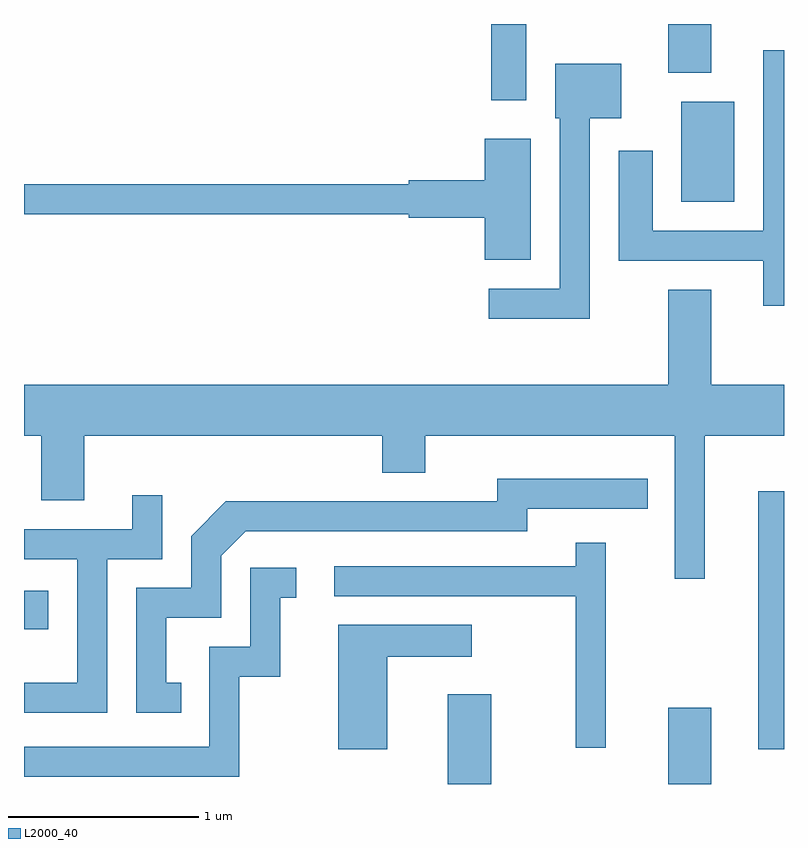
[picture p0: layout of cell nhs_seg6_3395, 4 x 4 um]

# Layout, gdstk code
import gdstk
lib = gdstk.Library(unit=1e-6, precision=1e-09)
def R(c, l, rs):  # rectangles x0, y0, x1, y1
    for r in rs: c.add(gdstk.rectangle(r[:2], r[2:], *l))
def P(c, l, *ps):  # polygons
    for p in ps: c.add(gdstk.Polygon(p, *l))
L2000_40 = (2000, 40)

nhs_seg6_3395 = lib.new_cell('nhs_seg6_3395')
R(nhs_seg6_3395, L2000_40, [(289.841,1588.162,290.069,1588.634), (291.001,1588.162,291.229,1588.564), (291.476,1588.346,291.611,1589.704), (287.611,1588.976,287.739,1589.179), (291.071,1591.226,291.349,1591.754), (290.071,1591.761,290.254,1592.162), (291.001,1591.906,291.229,1592.162)])
P(nhs_seg6_3395, L2000_40, [(291.611,1592.023),(291.501,1592.023),(291.501,1591.074),(290.919,1591.074),(290.919,1591.494),(290.741,1591.494),(290.741,1590.916),(291.501,1590.916),(291.501,1590.678),(291.611,1590.678)],
  [(290.589,1591.666),(290.754,1591.666),(290.754,1591.954),(290.406,1591.954),(290.406,1591.666),(290.431,1591.666),(290.431,1590.769),(290.058,1590.769),(290.058,1590.611),(290.589,1590.611)],
  [(290.279,1591.559),(290.036,1591.559),(290.036,1591.339),(289.636,1591.339),(289.636,1591.319),(287.611,1591.319),(287.611,1591.161),(289.636,1591.161),(289.636,1591.141),(290.036,1591.141),(290.036,1590.921),(290.279,1590.921)],
  [(291.194,1589.996),(291.611,1589.996),(291.611,1590.264),(291.229,1590.264),(291.229,1590.764),(291.001,1590.764),(291.001,1590.264),(287.611,1590.264),(287.611,1589.996),(287.701,1589.996),(287.701,1589.656),(287.929,1589.656),(287.929,1589.996),(289.496,1589.996),(289.496,1589.801),(289.724,1589.801),(289.724,1589.996),(291.036,1589.996),(291.036,1589.243),(291.194,1589.243)],
  [(288.438,1588.694),(288.359,1588.694),(288.359,1589.036),(288.649,1589.036),(288.649,1589.364),(288.777,1589.491),(290.259,1589.491),(290.259,1589.611),(290.893,1589.611),(290.893,1589.769),(290.101,1589.769),(290.101,1589.649),(288.674,1589.649),(288.491,1589.467),(288.491,1589.194),(288.201,1589.194),(288.201,1588.536),(288.438,1588.536)],
  [(288.049,1589.346),(288.339,1589.346),(288.339,1589.683),(288.181,1589.683),(288.181,1589.504),(287.611,1589.504),(287.611,1589.346),(287.891,1589.346),(287.891,1588.694),(287.611,1588.694),(287.611,1588.536),(288.049,1588.536)],
  [(290.674,1589.433),(290.516,1589.433),(290.516,1589.309),(289.243,1589.309),(289.243,1589.151),(290.516,1589.151),(290.516,1588.353),(290.674,1588.353)],
  [(288.744,1588.726),(288.959,1588.726),(288.959,1589.141),(289.043,1589.141),(289.043,1589.299),(288.801,1589.299),(288.801,1588.884),(288.586,1588.884),(288.586,1588.359),(287.611,1588.359),(287.611,1588.201),(288.744,1588.201)],
  [(289.524,1588.831),(289.968,1588.831),(289.968,1588.999),(289.266,1588.999),(289.266,1588.346),(289.524,1588.346)])

lib.write_gds('nhs_seg6_3395.gds')
